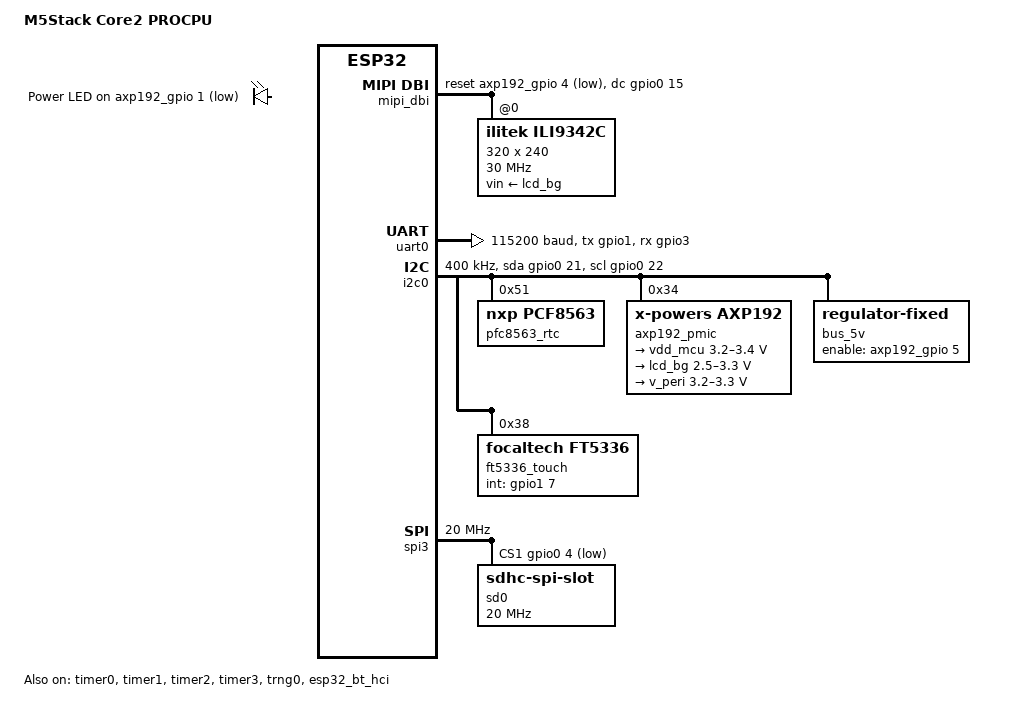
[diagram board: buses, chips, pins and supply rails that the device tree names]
/*
 * Copyright (c) 2023 Martin Kiepfer <mrmarteng@teleschirm.org>
 *
 * SPDX-License-Identifier: Apache-2.0
 */
/dts-v1/;

#include <espressif/esp32/esp32_d0wd_v3.dtsi>
#include "m5stack_core2-pinctrl.dtsi"
#include "grove_connectors.dtsi"
#include "m5stack_mbus_connectors.dtsi"
#include <zephyr/dt-bindings/display/ili9xxx.h>
#include <zephyr/dt-bindings/regulator/axp192.h>
#include <espressif/partitions_0x1000_amp.dtsi>

/ {
	model = "M5Stack Core2 PROCPU";
	compatible = "m5stack,core2";

	aliases {
		pwr-led = &pwr_led;
		uart-0 = &uart0;
		i2c-0 = &i2c0;
		watchdog0 = &wdt0;
		rtc = &pfc8563_rtc;
		led0 = &led_pwr;
		sdhc0 = &sd0;
	};

	chosen {
		zephyr,sram = &sram0;
		zephyr,console = &uart0;
		zephyr,shell-uart = &uart0;
		zephyr,flash = &flash0;
		zephyr,display = &ili9342c;
		zephyr,code-partition = &slot0_partition;
		zephyr,rtc = &pfc8563_rtc;
		zephyr,bt-hci = &esp32_bt_hci;
		zephyr,touch = &ft5336_touch;
	};

	leds {
		compatible = "gpio-leds";
		led_pwr: led_pwr {
			gpios = <&axp192_gpio 1 (GPIO_OPEN_DRAIN | GPIO_ACTIVE_LOW)>;
			label = "Power LED";
		};
	};

	lvgl_pointer {
		compatible = "zephyr,lvgl-pointer-input";
		input = <&ft5336_touch>;
		swap-xy;
	};

	mipi_dbi {
		compatible = "zephyr,mipi-dbi-spi";
		dc-gpios = <&gpio0 15 GPIO_ACTIVE_HIGH>;
		reset-gpios = <&axp192_gpio 4 (GPIO_OPEN_DRAIN | GPIO_ACTIVE_LOW)>;
		spi-dev = <&spi3>;
		write-only;
		#address-cells = <1>;
		#size-cells = <0>;

		ili9342c: ili9342c@0 {
			compatible = "ilitek,ili9342c";
			mipi-max-frequency = <30000000>;
			reg = <0>;
			vin-supply = <&lcd_bg>;
			pixel-format = <ILI9XXX_PIXEL_FORMAT_RGB565>;
			display-inversion;
			width = <320>;
			height = <240>;
			rotation = <0>;
		};
	};
};

&flash0 {
	reg = <0x0 DT_SIZE_M(16)>;
};

&psram0 {
	reg = <0x3f800000 DT_SIZE_M(8)>;
	status = "disabled";
};

&uart0 {
	status = "okay";
	current-speed = <115200>;
	pinctrl-0 = <&uart0_tx_gpio1 &uart0_rx_gpio3>;
	pinctrl-names = "default";
};

&uart1 {
	status = "disabled";
	current-speed = <115200>;
	pinctrl-0 = <&uart1_rx_gpio33 &uart1_tx_gpio32>;
	pinctrl-names = "default";
};

&gpio0 {
	status = "okay";
};

&gpio1 {
	status = "okay";
};

&i2c0 {
	status = "okay";
	clock-frequency = <I2C_BITRATE_FAST>;
	sda-gpios = <&gpio0 21 GPIO_OPEN_DRAIN>;
	scl-gpios = <&gpio0 22 GPIO_OPEN_DRAIN>;
	pinctrl-0 = <&i2c0_default>;
	scl-timeout-us = <0>;
	pinctrl-names = "default";

	pfc8563_rtc: pfc8563@51 {
		compatible = "nxp,pcf8563";
		reg = <0x51>;
		status = "okay";
	};

	axp192_pmic: axp192@34 {
		compatible = "x-powers,axp192";
		reg = <0x34>;
		status = "okay";

		axp192_regulator: axp192_regulator {
			compatible = "x-powers,axp192-regulator";
			status = "okay";

			vdd_mcu: DCDC1 {
				regulator-init-microvolt = <3350000>;
				regulator-min-microvolt = <3200000>;
				regulator-max-microvolt = <3400000>;
				regulator-initial-mode = <AXP192_DCDC_MODE_AUTO>;
				regulator-boot-on;
				regulator-always-on;
			};

			lcd_bg: DCDC3 {
				regulator-init-microvolt = <2800000>;
				regulator-min-microvolt = <2500000>;
				regulator-max-microvolt = <3300000>;
				regulator-boot-on;
			};

			v_peri: LDO2 {
				regulator-init-microvolt = <3300000>;
				regulator-min-microvolt = <3200000>;
				regulator-max-microvolt = <3300000>;
				regulator-boot-on;
			};

			vib_motor: LDO3 {
				regulator-init-microvolt = <2800000>;
			};
		};

		axp192_gpio: axp192_gpio {
			compatible = "x-powers,axp192-gpio";
			gpio-controller;
			#gpio-cells = <2>;
			ngpios = <6>;
			status = "okay";

			pwr_led: axp192_gpio1 {
				gpio-hog;
				gpios = <1 (GPIO_OPEN_DRAIN | GPIO_ACTIVE_LOW)>;
				output-high;
				line-name = "pwr-led";
			};

			bus_pwr_en: axp192_gpio0 {
				gpio-hog;
				gpios = <0 0>;
				output-high;
				line-name = "bus_pwr_en";
			};
		};
	};

	bus_5v: bus_5v {
		compatible = "regulator-fixed";
		regulator-name = "bus_5v";
		enable-gpios = <&axp192_gpio 5 GPIO_ACTIVE_HIGH>;
	};

	ft5336_touch: ft5336@38 {
		compatible = "focaltech,ft5336";
		reg = <0x38>;
		int-gpios = <&gpio1 7 0>;
	};
};

&i2c1 {
	status = "disabled";
	clock-frequency = <I2C_BITRATE_STANDARD>;
	sda-gpios = <&gpio1 0 GPIO_OPEN_DRAIN>;
	scl-gpios = <&gpio1 1 GPIO_OPEN_DRAIN>;
	pinctrl-0 = <&i2c1_default>;
	pinctrl-names = "default";
};

&spi3 {
	#address-cells = <1>;
	#size-cells = <0>;
	status = "okay";
	pinctrl-0 = <&spim3_default>;
	pinctrl-names = "default";
	dma-enabled;
	clock-frequency = <20000000>;
	cs-gpios = <&gpio0 5 GPIO_ACTIVE_LOW>,
			   <&gpio0 4 GPIO_ACTIVE_LOW>;

	sd0: sd@1 {
		compatible = "zephyr,sdhc-spi-slot";
		reg = <1>;
		status = "okay";
		spi-max-frequency = <20000000>;
		mmc {
			compatible = "zephyr,sdmmc-disk";
			disk-name = "SD";
			status = "okay";
		};

	};
};


&timer0 {
	status = "okay";
};

&timer1 {
	status = "okay";
};

&timer2 {
	status = "okay";
};

&timer3 {
	status = "okay";
};

&trng0 {
	status = "okay";
};

&esp32_bt_hci {
	status = "okay";
};
